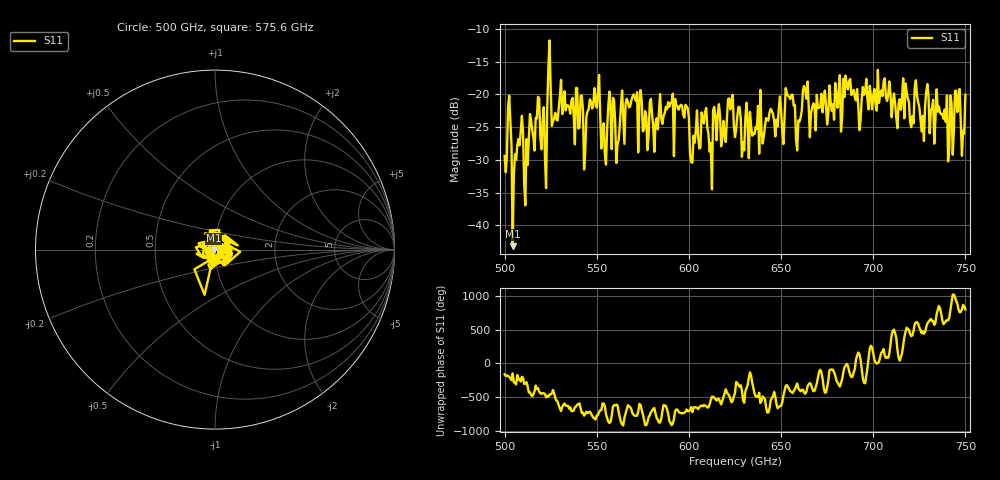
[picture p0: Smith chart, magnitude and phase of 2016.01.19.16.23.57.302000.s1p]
!Created with skrf (http://scikit-rf.org).
# GHz S RI R 50.0
!freq ReS11 ImS11
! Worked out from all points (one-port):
!   401 points, 500 GHz to 750 GHz, reference 50 ohm
!   lowest |S11| = -43.2 dB at 504.4 GHz (marker M1), VSWR 1.01, Z = 49.4 - j0.331 ohm
!   |S11| at or under -10 dB: start of sweep to end of sweep
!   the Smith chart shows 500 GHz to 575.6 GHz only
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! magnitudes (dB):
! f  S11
! 500 GHz  -29.4
! 502.5 GHz  -20.2
! 504.4 GHz  -43.2
! 508.8 GHz  -25.7
! 511.9 GHz  -26.8
! 518.1 GHz  -20.4
! 521.2 GHz  -21.9
! 524.4 GHz  -11.7
! 526.9 GHz  -23.6
! 531.2 GHz  -23.0
! 543.8 GHz  -28.8
! 550 GHz  -22.0
! 553.8 GHz  -24.4
! 562.5 GHz  -24.7
! 593.8 GHz  -21.8
! 601.9 GHz  -30.4
! 608.1 GHz  -24.4
! 611.2 GHz  -28.7
! 622.5 GHz  -22.3
! 625 GHz  -26.5
! 656.2 GHz  -20.0
! 659.4 GHz  -24.0
! 663.1 GHz  -19.3
! 687.5 GHz  -17.6
! 718.8 GHz  -20.6
! 741.9 GHz  -20.2
! 745.6 GHz  -22.7
! 750 GHz  -20.1
